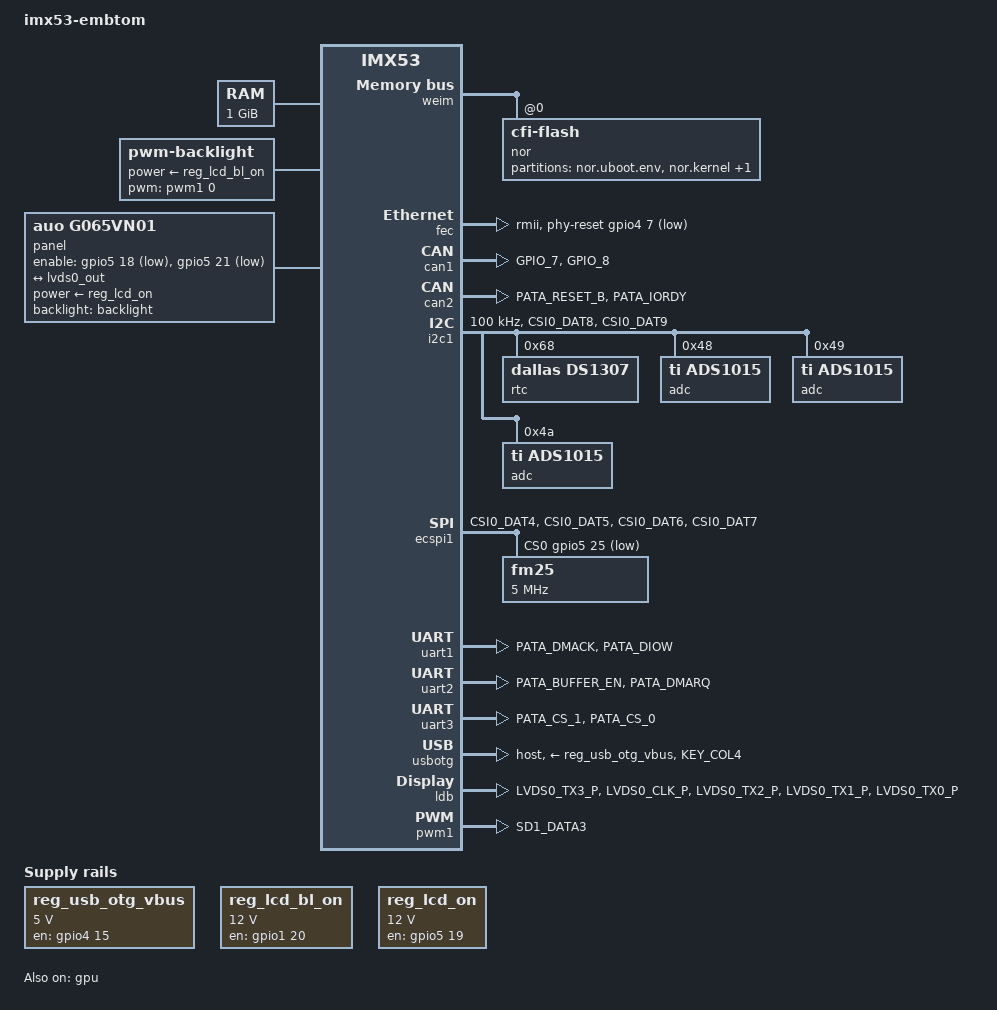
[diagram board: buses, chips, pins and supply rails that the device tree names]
/dts-v1/;
#include "imx53.dtsi"

/ {
	model = "imx53-embtom";
	compatible = "embtom", "fsl,imx53";

	aliases {
		display = &lvds0;
		lvds0 = &lvds0;
	};

	chosen {
		stdout-path = &uart1;
	};
	memory@70000000 {
		reg = <0x70000000 0x20000000>,
		      <0xb0000000 0x20000000>;
	};

	regulators {
		compatible = "simple-bus";
		#address-cells = <1>;
		#size-cells = <0>;
	
		reg_usb_otg_vbus: regulator1 {
			pinctrl-0 = <&pinctrl_usb_otg_vbus>;
			compatible = "regulator-fixed";
			reg = <0>;
			regulator-name = "usbotg_vbus";
			regulator-min-microvolt = <5000000>;
			regulator-max-microvolt = <5000000>;
			gpio = <&gpio4 15 GPIO_ACTIVE_HIGH>;
			enable-active-high;
		};

		reg_lcd_bl_on: regulator2 {
			pinctrl-0 = <&pinctrl_reg_lcd_bl_on>;
			compatible = "regulator-fixed";
			reg = <1>;
			pinctrl-names = "default";
			regulator-name = "lcdbl";
			regulator-min-microvolt = <12000000>;
			regulator-max-microvolt = <12000000>;
			gpio = <&gpio1 20 GPIO_ACTIVE_HIGH>;
			enable-active-high;
		};
		reg_lcd_on: regulator3 {
			pinctrl-0 = <&pinctrl_reg_lcd_on>;
			compatible = "regulator-fixed";
			reg = <2>;
			pinctrl-names = "default";
			regulator-name = "lcd12v";
			regulator-min-microvolt = <12000000>;
			regulator-max-microvolt = <12000000>;
			gpio = <&gpio5 19 GPIO_ACTIVE_HIGH>;
			enable-active-high;
		};
	};

	backlight: backlight {
		compatible = "pwm-backlight";
		pwms = <&pwm1 0 5000000>;
		brightness-levels = <   0   1   2   3   4   5   6   7   8   9
				       10  11  12  13  14  15  16  17  18  19	 
				       20  21  22  23  24  25  26  27  28  29	 
				       30  31  32  33  34  35  36  37  38  39	 
				       40  41  42  43  44  45  46  47  48  49	 
				       50  51  52  53  54  55  56  57  58  59	 
				       60  61  62  63  64  65  66  67  68  69	 
				       70  71  72  73  74  75  76  77  78  79	 
				       80  81  82  83  84  85  86  87  88  89	 
				       90  91  92  93  94  95  96  97  98  99	 
		              100 101 102 103 104 105 106 107 108 109
				      110 111 112 113 114 115 116 117 118 119	 
				      120 121 122 123 124 125 126 127 128 129	 
				      130 131 132 133 134 135 136 137 138 139	 
				      140 141 142 143 144 145 146 147 148 149	 
				      150 151 152 153 154 155 156 157 158 159	 
				      160 161 162 163 164 165 166 167 168 169	 
				      170 171 172 173 174 175 176 177 178 179	 
				      180 181 182 183 184 185 186 187 188 189	 
				      190 191 192 193 194 195 196 197 198 199	 
		              200 201 202 203 204 205 206 207 208 209
				      210 211 212 213 214 215 216 217 218 219	 
				      220 221 222 223 224 225 226 227 228 229	 
				      230 231 232 233 234 235 236 237 238 239	 
				      240 241 242 243 244 245 246 247 248 249	 
				      250 251 252 253 254 255>;
		default-brightness-level = <255>;
		pinctrl-names = "default";
		power-supply = <&reg_lcd_bl_on>;
		status = "okay";
	};

	panel: panel {
		compatible = "auo,g065vn01";
		backlight = <&backlight>;
		enable-gpios = <&gpio5 18 GPIO_ACTIVE_LOW>, 
					   <&gpio5 21 GPIO_ACTIVE_LOW>;
		power-supply = <&reg_lcd_on>;
		port {
			panel_lcd: endpoint {
				remote-endpoint = <&lvds0_out>;
			};
		};
	};

};

&iomuxc {
	pinctrl-names = "default";
	imx53-embtom {
		pinctrl_nor: nor_grp{
			fsl,pins = <
				MX53_PAD_EIM_DA0__EMI_NAND_WEIM_DA_0	0x80000000	
				MX53_PAD_EIM_DA1__EMI_NAND_WEIM_DA_1	0x80000000	
				MX53_PAD_EIM_DA2__EMI_NAND_WEIM_DA_2	0x80000000
				MX53_PAD_EIM_DA3__EMI_NAND_WEIM_DA_3	0x80000000
				MX53_PAD_EIM_DA4__EMI_NAND_WEIM_DA_4	0x80000000
				MX53_PAD_EIM_DA5__EMI_NAND_WEIM_DA_5	0x80000000
				MX53_PAD_EIM_DA6__EMI_NAND_WEIM_DA_6	0x80000000
				MX53_PAD_EIM_DA7__EMI_NAND_WEIM_DA_7	0x80000000
				MX53_PAD_EIM_DA8__EMI_NAND_WEIM_DA_8	0x80000000
				MX53_PAD_EIM_DA9__EMI_NAND_WEIM_DA_9	0x80000000
				MX53_PAD_EIM_DA10__EMI_NAND_WEIM_DA_10	0x80000000
				MX53_PAD_EIM_DA11__EMI_NAND_WEIM_DA_11	0x80000000
				MX53_PAD_EIM_DA12__EMI_NAND_WEIM_DA_12	0x80000000
				MX53_PAD_EIM_DA13__EMI_NAND_WEIM_DA_13	0x80000000
				MX53_PAD_EIM_DA14__EMI_NAND_WEIM_DA_14	0x80000000
				MX53_PAD_EIM_DA15__EMI_NAND_WEIM_DA_15	0x80000000
				MX53_PAD_EIM_A16__EMI_WEIM_A_16			0x80000000
				MX53_PAD_EIM_A17__EMI_WEIM_A_17			0x80000000
				MX53_PAD_EIM_A18__EMI_WEIM_A_18			0x80000000
				MX53_PAD_EIM_A19__EMI_WEIM_A_19			0x80000000
				MX53_PAD_EIM_A20__EMI_WEIM_A_20			0x80000000
				MX53_PAD_EIM_A21__EMI_WEIM_A_21			0x80000000
				MX53_PAD_EIM_A22__EMI_WEIM_A_22			0x80000000
				MX53_PAD_EIM_A23__EMI_WEIM_A_23			0x80000000
				MX53_PAD_EIM_A24__EMI_WEIM_A_24			0x80000000
				MX53_PAD_EIM_A25__EMI_WEIM_A_25			0x80000000
				MX53_PAD_EIM_D16__EMI_WEIM_D_16			0x80000000
				MX53_PAD_EIM_D17__EMI_WEIM_D_17			0x80000000
				MX53_PAD_EIM_D18__EMI_WEIM_D_18			0x80000000
				MX53_PAD_EIM_D19__EMI_WEIM_D_19			0x80000000
				MX53_PAD_EIM_D20__EMI_WEIM_D_20			0x80000000
				MX53_PAD_EIM_D21__EMI_WEIM_D_21			0x80000000
				MX53_PAD_EIM_D22__EMI_WEIM_D_22			0x80000000
				MX53_PAD_EIM_D23__EMI_WEIM_D_23			0x80000000
				MX53_PAD_EIM_D24__EMI_WEIM_D_24			0x80000000
				MX53_PAD_EIM_D25__EMI_WEIM_D_25			0x80000000
				MX53_PAD_EIM_D26__EMI_WEIM_D_26			0x80000000
				MX53_PAD_EIM_D27__EMI_WEIM_D_27			0x80000000
				MX53_PAD_EIM_D28__EMI_WEIM_D_28			0x80000000
				MX53_PAD_EIM_D29__EMI_WEIM_D_29			0x80000000
				MX53_PAD_EIM_D30__EMI_WEIM_D_30			0x80000000
				MX53_PAD_EIM_D31__EMI_WEIM_D_31			0x80000000
				MX53_PAD_EIM_CS0__EMI_WEIM_CS_0			0x80000000
				MX53_PAD_EIM_EB0__EMI_WEIM_EB_0			0x80000000
				MX53_PAD_EIM_EB1__EMI_WEIM_EB_1			0x80000000
				MX53_PAD_EIM_LBA__EMI_WEIM_LBA			0x80000000
				MX53_PAD_EIM_OE__EMI_WEIM_OE			0x80000000
				MX53_PAD_EIM_RW__EMI_WEIM_RW			0x80000000
				MX53_PAD_EIM_WAIT__EMI_WEIM_WAIT		0x80000000
			>;
		};
	/*	pinctrl_fec: fexgrp {
			fsl,pins = <
				MX53_PAD_FEC_MDIO__FEC_MDIO			0x800001fc
				MX53_PAD_FEC_MDC__FEC_MDC       	0x80000004
				MX53_PAD_FEC_RXD1__FEC_RDATA_1		0x80000180
				MX53_PAD_FEC_RXD0__FEC_RDATA_0  	0x80000180
				MX53_PAD_FEC_TXD1__FEC_TDATA_1  	0x80000004
				MX53_PAD_FEC_TXD0__FEC_TDATA_0  	0x80000004
				MX53_PAD_FEC_TX_EN__FEC_TX_EN   	0x80000004
				MX53_PAD_FEC_REF_CLK__FEC_TX_CLK  	0x80000180
				MX53_PAD_FEC_RX_ER__FEC_RX_ER		0x80000180
				MX53_PAD_KEY_COL3__FEC_CRS			0x80000180
				MX53_PAD_FEC_MDIO__FEC_COL			0x80000180
				MX53_PAD_FEC_CRS_DV__FEC_RX_DV      0x80000180
				MX53_PAD_KEY_COL1__FEC_RX_CLK		0x80000180
			>;
		};*/
		pinctrl_can1: can1grp {
			fsl,pins = <
				MX53_PAD_GPIO_7__CAN1_TXCAN  		0x800001ed
				MX53_PAD_GPIO_8__CAN1_RXCAN         0x800001ed
			>;
		};
		pinctrl_can2: can2grp {
			fsl,pins = <
				MX53_PAD_PATA_RESET_B__CAN2_TXCAN  	0x800001ed
				MX53_PAD_PATA_IORDY__CAN2_RXCAN     0x800001ed
			>;
		};
		pinctrl_ecspi1: ecspi1grp {
			fsl,pins = < 
				MX53_PAD_CSI0_DAT4__ECSPI1_SCLK		0x1e4
				MX53_PAD_CSI0_DAT5__ECSPI1_MOSI     0x1e4
				MX53_PAD_CSI0_DAT6__ECSPI1_MISO		0x1e4
				MX53_PAD_CSI0_DAT7__GPIO5_25		0x1e4 
			>;
		};
		pinctrl_uart1: uart1grp {
			fsl,pins = <
				MX53_PAD_PATA_DMACK__UART1_RXD_MUX  0x1e4
				MX53_PAD_PATA_DIOW__UART1_TXD_MUX   0x1e4
			>;
		};
		pinctrl_uart2: uart2grp{
			fsl,pins = <
				MX53_PAD_PATA_BUFFER_EN__UART2_RXD_MUX  0x1e4
				MX53_PAD_PATA_DMARQ__UART2_TXD_MUX   0x1e4
			>;
		};
		pinctrl_uart3: uart3grp{
			fsl,pins = <
				MX53_PAD_PATA_CS_1__UART3_RXD_MUX  	0x1e4
				MX53_PAD_PATA_CS_0__UART3_TXD_MUX   0x1e4
			>;
		};
		pinctrl_i2c1:i2c1grp{
			fsl,pins = <
				MX53_PAD_CSI0_DAT8__I2C1_SDA 0xc0000000
				MX53_PAD_CSI0_DAT9__I2C1_SCL 0xc0000000 
			>;
		};

		pinctrl_usb_otg_vbus: usb-otg-vbusgrp {
			fsl,pins = <
				MX53_PAD_KEY_ROW4__GPIO4_15		0x1c4
			>;
		};

		pinctrl_usb_otg: usbotggrp {
			fsl,pins = <
				MX53_PAD_KEY_COL4__USBOH3_USBOTG_OC	0x180
			>;
		};

		pinctrl_lvds0: lvds0-grp1 {
			fsl,pins = <
				MX53_PAD_LVDS0_TX3_P__LDB_LVDS0_TX3 0x80000000
				MX53_PAD_LVDS0_CLK_P__LDB_LVDS0_CLK 0x80000000
				MX53_PAD_LVDS0_TX2_P__LDB_LVDS0_TX2 0x80000000
				MX53_PAD_LVDS0_TX1_P__LDB_LVDS0_TX1 0x80000000
				MX53_PAD_LVDS0_TX0_P__LDB_LVDS0_TX0 0x80000000
			>;
		};

		pinctrl_reg_lcd_on: reg_lcdongrp {
			fsl,pins = <
				MX53_PAD_CSI0_MCLK__GPIO5_19	0x1c4		
			>;
		};

		pinctrl_reg_lcd_bl_on: reg_lcdblgrp {
			fsl,pins = <
				MX53_PAD_SD1_CLK__GPIO1_20   	0x1c4
			>;
		};

		pinctrl_pwm1: pwm1grp {
			fsl,pins = <
				MX53_PAD_SD1_DATA3__PWM1_PWMO 	0x1e4
			>;
		};
	};
};

&weim {
    compatible = "fsl,imx50-weim";
    ranges = <0 0 0xf0000000 0x08000000>;
    fsl,weim-cs-gpr = <&pinctrl_nor>;
    status = "okay";

    nor@0,0 {
        compatible = "cfi-flash";
        reg = <0 0 0x8000000>;
        #address-cells = <1>;
        #size-cells = <1>;
        bank-width = <2>;
		fsl,weim-cs-timing = <0x10320281 0x00001002 0x0e020000
				0x0000a000 0x07000000 0x00000000>;
        status = "okay";
		
        partition@0 {
			reg = <0xC0000 0x20000>;
			label = "nor.uboot.env";
            read-only;
		};

		partition@40000 {
			reg = <0x100000 0x500000>;
			label = "nor.kernel";
			read-only;
		};

		partition@900000 {
			reg = <0x600000 0x3A00000>;			/* reduced to a total of 55MB for faster rootfs update, max possible size +64MB */ 
			label = "nor.rootfs";
		};
    };
};

&fec {
	pinctrl-names = "default";
	/*pinctrl-0 = <&pinctrl_fec>; */
	phy-reset-gpios = <&gpio4 7 GPIO_ACTIVE_LOW>;
	phy-mode = "rmii";
	status = "okay";
};

&can1 {
    pinctrl-names = "default";
    pinctrl-0 = <&pinctrl_can1>;
    status = "okay";
};

&can2 {
    pinctrl-names = "default";
    pinctrl-0 = <&pinctrl_can2>;
	status = "okay";
};

&i2c1 {
	pinctrl-names = "default";
    pinctrl-0 = <&pinctrl_i2c1>;
	clock-frequency = <100000>;
	status = "okay";
	rtc@68 {
		compatible = "dallas,ds1307";
		reg = <0x68>;
		trickle-diode-disable = <1>;
		trickle-resistor-ohms = <250>;
	};
	adc@48 {
		compatible = "ti,ads1015";
		reg = <0x48>;
		#address-cells = <1>;
		#size-cells = <0>;
		channel@1 {
			reg = <4>;
			ti,gain = <1>;
			ti,datarate = <2>;
		};
		channel@2 {
			reg = <5>;
			ti,gain = <1>;
			ti,datarate = <2>;
		};
		channel@3 {
			reg = <6>;
			ti,gain = <1>;
			ti,datarate = <2>;
		};
		channel@4 {
			reg = <7>;
			ti,gain = <1>;
			ti,datarate = <2>;
		};
	};
	adc@49 {
		compatible = "ti,ads1015";
		reg = <0x49>;
		#address-cells = <1>;
		#size-cells = <0>;
		channel@1 {
			reg = <4>;
			ti,gain = <1>;
			ti,datarate = <2>;
		};
		channel@2 {
			reg = <5>;
			ti,gain = <1>;
			ti,datarate = <2>;
		};
		channel@3 {
			reg = <6>;
			ti,gain = <1>;
			ti,datarate = <2>;
		};
		channel@4 {
			reg = <7>;
			ti,gain = <1>;
			ti,datarate = <2>;
		};
	};
	adc@4a {
		compatible = "ti,ads1015";
		reg = <0x4a>;
		#address-cells = <1>;
		#size-cells = <0>;
		channel@1 {
			reg = <4>;
			ti,gain = <1>;
			ti,datarate = <2>;
		};
		channel@2 {
			reg = <5>;
			ti,gain = <1>;
			ti,datarate = <2>;
		};
		channel@3 {
			reg = <6>;
			ti,gain = <1>;
			ti,datarate = <2>;
		};
		channel@4 {
			reg = <7>;
			ti,gain = <1>;
			ti,datarate = <2>;
		};
	};
};

&ecspi1 {
	pinctrl-names = "default";
	pinctrl-0 = <&pinctrl_ecspi1>;
	cs-gpios = <&gpio5 25 GPIO_ACTIVE_LOW>;
	status = "okay";	

	fm25@0  {
		compatible = "fm25";
		size = <8192>;
		address-width = <16>;
		spi-max-frequency = <5000000>;
		reg = <0>;
	};
};

&uart1 {
	pinctrl-names = "default";
	pinctrl-0 = <&pinctrl_uart1>;
	status = "okay";
};

&uart2 {
	pinctrl-names = "default";
	pinctrl-0 = <&pinctrl_uart2>;
	status = "okay";
};

&uart3 {
	pinctrl-names = "default";
	pinctrl-0 = <&pinctrl_uart3>;
	status = "okay";
};

&usbotg {
	pinctrl-names = "default";
	pinctrl-0 = <&pinctrl_usb_otg>;
	vbus-supply = <&reg_usb_otg_vbus>;
	disable-over-current;
	dr_mode = "host";
	phy_type = "utmi";
	status = "okay";
};

&gpu {
	status = "okay";
	qcom,gpu-pwrlevels {
		compatible = "qcom,gpu-pwrlevels";
		qcom,gpu-pwrlevel@0 {
			qcom,gpu-freq = <200000000>;
		};
	};
};

&ldb {
	pinctrl-names = "default";
	pinctrl-0 = <&pinctrl_lvds0>;
	status = "okay";
	lvds0: lvds-channel@0 {
		status = "okay";
		port@0 {
			reg = <0>;
			lvds0_in: endpoint {
				remote-endpoint = <&ipu_di0_lvds0>;
			};
		};
		port@2 {
			reg = <2>;
			lvds0_out: endpoint {
				remote-endpoint = <&panel_lcd>;
			};
		};
	};
};

&pwm1 {
	pinctrl-names = "default";
	pinctrl-0 = <&pinctrl_pwm1>;
	status = "okay";
};
